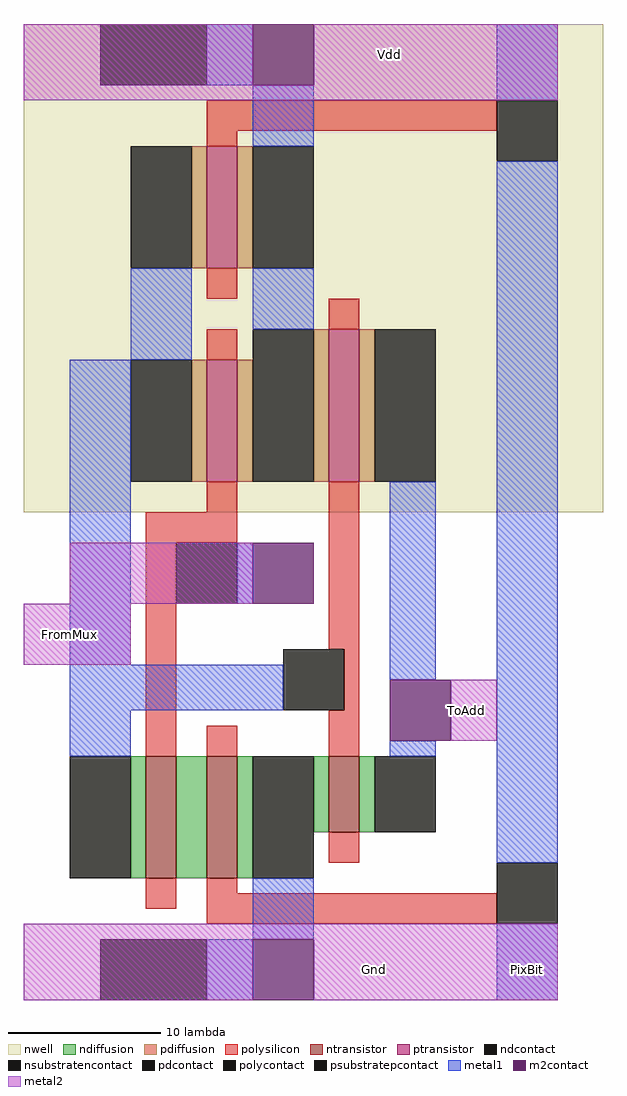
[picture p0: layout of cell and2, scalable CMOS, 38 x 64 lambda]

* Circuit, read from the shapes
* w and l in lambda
.subckt and2 FromMux Gnd PixBit ToAdd Vdd
M1 n1 FromMux n2 Gnd nfet w=8 l=2
M2 Gnd PixBit n1 Gnd nfet w=8 l=2
M3 ToAdd n2 Gnd Gnd nfet w=5 l=2
M4 Vdd FromMux n2 Vdd pfet w=8 l=2
M5 Vdd PixBit n2 Vdd pfet w=8 l=2
M6 ToAdd n2 Vdd Vdd pfet w=10 l=2
.ends

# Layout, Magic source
magic
tech scmos
<< nwell >>
rect 77 39 115 71
<< polysilicon >>
rect 89 64 108 66
rect 89 63 91 64
rect 89 53 91 55
rect 97 51 99 53
rect 89 49 91 51
rect 89 39 91 41
rect 85 37 91 39
rect 85 23 87 37
rect 97 30 99 41
rect 98 26 99 30
rect 89 23 91 25
rect 97 23 99 26
rect 97 16 99 18
rect 85 13 87 15
rect 89 14 91 15
rect 89 12 108 14
<< ndiffusion >>
rect 84 15 85 23
rect 87 15 89 23
rect 91 15 92 23
rect 96 18 97 23
rect 99 18 100 23
<< pdiffusion >>
rect 88 55 89 63
rect 91 55 92 63
rect 88 41 89 49
rect 91 41 92 49
rect 96 41 97 51
rect 99 41 100 51
<< metal1 >>
rect 89 67 92 71
rect 92 63 96 67
rect 84 49 88 55
rect 80 29 84 49
rect 92 51 96 55
rect 108 66 112 71
rect 91 33 92 37
rect 80 26 94 29
rect 101 28 104 41
rect 80 23 84 26
rect 101 23 104 24
rect 92 11 96 15
rect 89 7 92 11
rect 108 16 112 62
rect 108 7 112 12
<< metal2 >>
rect 77 67 92 71
rect 96 67 112 71
rect 77 66 112 67
rect 80 33 92 37
rect 77 29 84 33
rect 105 24 108 28
rect 77 11 112 12
rect 77 7 92 11
rect 96 7 112 11
<< ntransistor >>
rect 85 15 87 23
rect 89 15 91 23
rect 97 18 99 23
<< ptransistor >>
rect 89 55 91 63
rect 89 41 91 49
rect 97 41 99 51
<< polycontact >>
rect 108 62 112 66
rect 87 33 91 37
rect 94 26 98 30
rect 108 12 112 16
<< ndcontact >>
rect 80 15 84 23
rect 92 15 96 23
rect 100 18 104 23
<< pdcontact >>
rect 84 55 88 63
rect 92 55 96 63
rect 84 41 88 49
rect 92 41 96 51
rect 100 41 104 51
<< m2contact >>
rect 92 67 96 71
rect 92 33 96 37
rect 101 24 105 28
rect 92 7 96 11
<< psubstratepcontact >>
rect 82 7 89 11
<< nsubstratencontact >>
rect 82 67 89 71
<< labels >>
rlabel metal2 100 9 100 9 5 Gnd
rlabel metal2 101 69 101 69 1 Vdd
rlabel metal2 80 31 80 31 7 FromMux
rlabel metal2 106 26 106 26 3 ToAdd
rlabel metal1 110 9 110 9 5 PixBit
<< end >>
